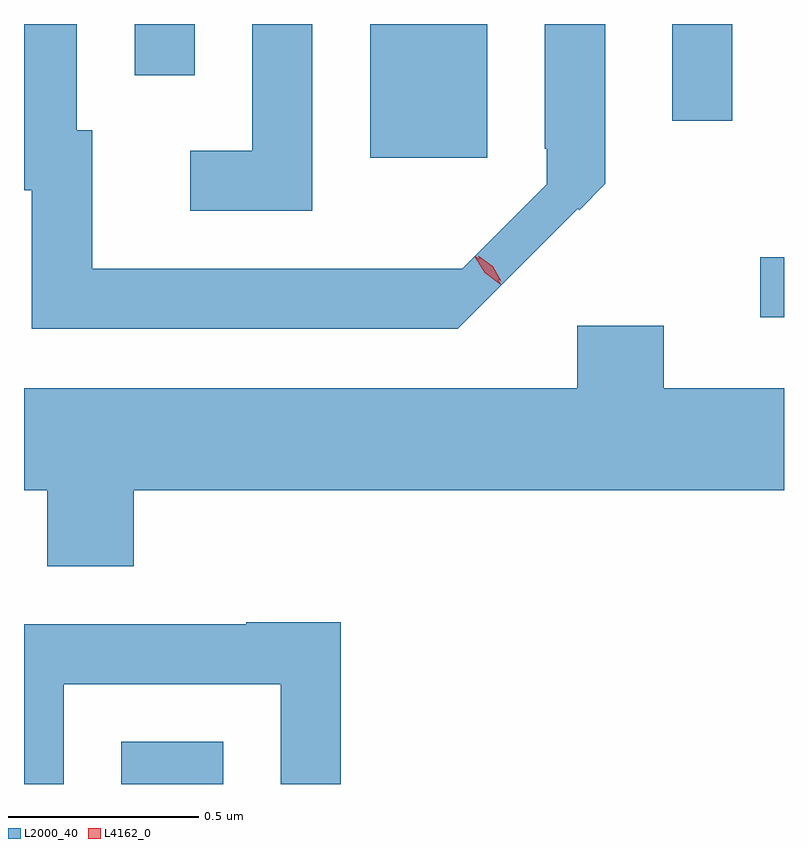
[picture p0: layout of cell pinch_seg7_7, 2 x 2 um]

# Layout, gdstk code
import gdstk
lib = gdstk.Library(unit=1e-6, precision=1e-09)
def R(c, l, rs):  # rectangles x0, y0, x1, y1
    for r in rs: c.add(gdstk.rectangle(r[:2], r[2:], *l))
def P(c, l, *ps):  # polygons
    for p in ps: c.add(gdstk.Polygon(p, *l))
L2000_40 = (2000, 40)
L4162_0 = (4162, 0)

pinch_seg7_7 = lib.new_cell('pinch_seg7_7')
R(pinch_seg7_7, L2000_40, [(1615.366,1777.923,1615.634,1778.034), (1617.048,1779.151,1617.11,1779.309), (1616.021,1779.571,1616.329,1779.923), (1616.816,1779.668,1616.974,1779.923), (1615.401,1779.788,1615.559,1779.923)])
P(pinch_seg7_7, L2000_40, [(1615.869,1779.923),(1615.711,1779.923),(1615.711,1779.589),(1615.548,1779.589),(1615.548,1779.431),(1615.869,1779.431)],
  [(1616.567,1779.437),(1616.571,1779.433),(1616.639,1779.502),(1616.639,1779.923),(1616.481,1779.923),(1616.481,1779.595),(1616.485,1779.595),(1616.485,1779.501),(1616.263,1779.279),(1615.289,1779.279),(1615.289,1779.644),(1615.249,1779.644),(1615.249,1779.923),(1615.11,1779.923),(1615.11,1779.486),(1615.131,1779.486),(1615.131,1779.121),(1616.252,1779.121)],
  [(1615.399,1778.696),(1617.11,1778.696),(1617.11,1778.964),(1616.794,1778.964),(1616.794,1779.129),(1616.566,1779.129),(1616.566,1778.964),(1615.11,1778.964),(1615.11,1778.696),(1615.171,1778.696),(1615.171,1778.496),(1615.399,1778.496)],
  [(1615.214,1778.186),(1615.786,1778.186),(1615.786,1777.923),(1615.944,1777.923),(1615.944,1778.349),(1615.695,1778.349),(1615.695,1778.344),(1615.11,1778.344),(1615.11,1777.923),(1615.214,1777.923)])
P(pinch_seg7_7, L4162_0, [(1616.364,1779.237),(1616.323,1779.268),(1616.296,1779.311),(1616.296,1779.312),(1616.297,1779.312),(1616.338,1779.281),(1616.365,1779.238),(1616.365,1779.237)],
  [(1616.366,1779.246),(1616.328,1779.272),(1616.305,1779.312),(1616.305,1779.313),(1616.306,1779.313),(1616.343,1779.286),(1616.366,1779.246),(1616.366,1779.246)])

lib.write_gds('pinch_seg7_7.gds')
